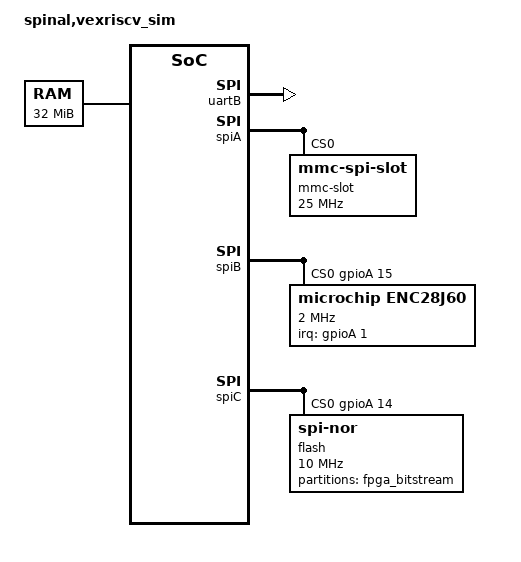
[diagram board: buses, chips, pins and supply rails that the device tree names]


/dts-v1/;
//include/ "dt-bindings/interrupt-controller/irq.h"
//include/ "dt-bindings/gpio/gpio.h"



/ {
    #address-cells = <0x1>;
    #size-cells = <0x1>;
    compatible = "spinal,vexriscv";
    model = "spinal,vexriscv_sim";

    chosen {
        bootargs = "rootwait console=hvc0 root=/dev/mmcblk0p1 init=/sbin/init mmc_core.use_spi_crc=0";
    };


    cpus {
        #address-cells = <0x1>;
        #size-cells = <0x0>;
        timebase-frequency = <50000000>;
            cpu@0 {
                device_type = "cpu";
                compatible = "riscv";
                riscv,isa = "rv32im";
                mmu-type = "riscv,sv32";
                reg = <0>;
                status = "okay";
                L1: interrupt-controller {
                    #interrupt-cells = <0x00000001>;
                    interrupt-controller;
                    compatible = "riscv,cpu-intc";
                };
            };
        };

    memory@80000000 {
        device_type = "memory";
        reg = <0x80000000 0x02000000>;
    };

	reserved-memory {
		#address-cells = <1>;
		#size-cells = <1>;
		ranges;

		machineMode: sbi@80800000 {
			reg = <0x80800000 0x10000>;
		};
	};

	clocks {
		compatible = "simple-bus";
		#address-cells = <1>;
		#size-cells = <0>;

		apbA_clock: clock@1 {
			compatible = "fixed-clock";
			reg = <1 0>;
			#clock-cells = <0>;
			clock-frequency = <50000000>;
		};
	};

    apbA@10000000 {
        compatible = "simple-bus";
        #address-cells = <0x1>;
        #size-cells = <0x1>;
        ranges = <0x0 0x10000000 0x01000000>;

        plic: interrupt-controller@c00000 {
            compatible = "sifive,plic-1.0.0", "sifive,fu540-c000-plic";
            #interrupt-cells = <1>;
            interrupt-controller;
            interrupts-extended = <&L1 11 &L1 9>;
            reg = <0x00C00000 0x400000>;
            riscv,ndev = <32>;
        };

        gpioA: gpio@0 {
	        compatible = "spinal-lib,gpio-1.0";
	        interrupt-parent = <&plic>;
	        ngpio = <24>;
	        interrupts = <4 5 6 7>;
	        reg = <0x000000 0x1000>;
	        gpio-controller;
	        #gpio-cells = <2>;
	        interrupt-controller;
	        #interrupt-cells = <2>;
        };

        uartB: ttySpinal@11000 {
                compatible = "spinal-lib,uart-1.0";
                reg = <0x11000 0x1000>;
                clocks = <&apbA_clock 0>;
                //interrupt-parent = <&plic>;
                //interrupts = <2>;
        };

        spiA: spi@20000 {
            compatible = "spinal-lib,spi-1.0";
            #address-cells = <1>;
            #size-cells = <0>;   
            reg = <0x020000 0x1000>;
            cmd_fifo_depth = <256>;
            rsp_fifo_depth = <256>;
            cs-gpios = <0>;
            clocks = <&apbA_clock 0>;
            mmc-slot@0 {
                compatible = "mmc-spi-slot";
                reg = <0>;
                voltage-ranges = <3300 3300>;
                spi-max-frequency = <25000000>;
            };
        };

        spiB: spi@21000 {
            compatible = "spinal-lib,spi-1.0";
            #address-cells = <1>;
            #size-cells = <0>;
            reg = <0x021000 0x1000>;
            cmd_fifo_depth = <256>;
            rsp_fifo_depth = <256>;
            cs-gpios = <&gpioA 15 0>;
	    clocks = <&apbA_clock 0>;

            enc28j60: ethernet@0 {
                compatible = "microchip,enc28j60";
                reg = <0>;
                interrupt-parent = <&gpioA>;
                interrupts = <1 2>; //IRQ_TYPE_EDGE_FALLING
                spi-max-frequency = <2000000>;
            };
        };

        spiC: spi@22000 {
            compatible = "spinal-lib,spi-1.0";
            #address-cells = <1>;
            #size-cells = <0>;   
            reg = <0x022000 0x1000>;
            cmd_fifo_depth = <256>;
            rsp_fifo_depth = <256>;
            cs-gpios = <&gpioA 14 0>;
            clocks = <&apbA_clock 0>;

	    flash: flash@0 {
	        #address-cells = <1>;
	        #size-cells = <1>;
	        compatible = "spi-nor";
	        reg = <0>;
	        spi-max-frequency = <10000000>;

                partition@0 {
                    label = "fpga_bitstream";
                    reg = <0x000000 0x300000>;
                };
                parition@1 {
                    label = "machineModeSbi";
                    reg = <0x300000 0x010000>;
                };
                parition@2 {
                    label = "uboot";
                    reg = <0x310000 0x070000>;
                };
                parition@3 {
                    label = "user";
	            reg = <0x380000 0x080000>;
	        };
	    };
        };
    };
};


